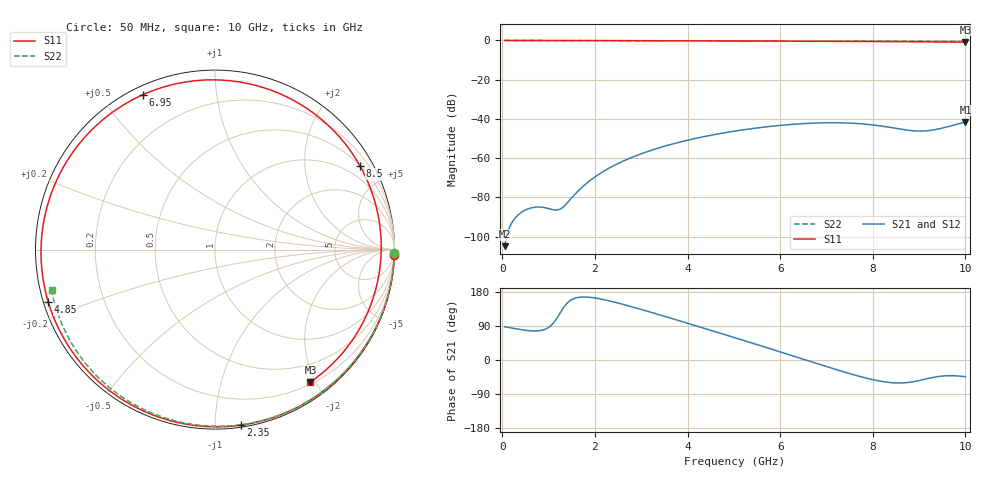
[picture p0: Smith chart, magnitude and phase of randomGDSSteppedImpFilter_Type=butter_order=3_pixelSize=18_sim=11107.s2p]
! freq	dB(S11)	phase(S11)	dB(S12)	phase(S12)
!  dB(S21)	phase(S21)	dB(S22)	phase(S22)
!S-par simulation data
#  GHz  S  DB  R 50
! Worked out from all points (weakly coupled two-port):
!   200 points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, 50 MHz to 10 GHz, reference 50 ohm
!   highest |S21| = -41.58 dB at 10 GHz (marker M1); lowest = -104.8 dB at 50 MHz (marker M2)
!   lowest |S11| = -0.8 dB at 10 GHz (marker M3), VSWR 21.02, Z = 11.4 - j96.6 ohm
!   |S11| at or under -10 dB: nowhere
!   |S22| runs from -0.6 to 0.0 dB; largest |S21 - S12| = 0
!   S11 on the Smith chart (normalised r, x): 50 MHz: 1, -62; 2.35 GHz: 0.01, -1.16; 4.85 GHz: 0.01, -0.15; 6.95 GHz: 0.03, +0.64; 8.5 GHz: 0.51, +3.67; 10 GHz: 0.23, -1.93
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0.05  -0.00 -1.8  -104.80 87.7  -104.80 87.7  -0.00 -1.0
0.75  -0.03 -26.9  -84.87 76.7  -84.87 76.7  -0.02 -14.2
1.5  -0.07 -53.1  -80.16 159.3  -80.16 159.3  -0.04 -28.2
1.75  -0.08 -61.7  -74.17 166.3  -74.17 166.3  -0.04 -32.7
2.35  -0.10 -81.7  -64.47 154.9  -64.47 154.9  -0.06 -43.6
2.85  -0.12 -98.0  -59.07 138.6  -59.07 138.6  -0.07 -52.5
3.4  -0.15 -115.6  -54.60 119.0  -54.60 119.0  -0.08 -62.1
4.15  -0.19 -139.5  -50.02 91.4  -50.02 91.4  -0.10 -74.8
4.85  -0.23 -162.5  -46.83 65.3  -46.83 65.3  -0.13 -86.3
5.05  -0.25 -169.2  -46.07 57.7  -46.07 57.7  -0.14 -89.5
5.9  -0.32 160.0  -43.50 25.3  -43.50 25.3  -0.18 -103.0
6.7  -0.40 126.5  -42.13 -5.7  -42.13 -5.7  -0.23 -115.3
6.95  -0.43 114.9  -41.95 -15.3  -41.95 -15.3  -0.24 -119.1
7.3  -0.47 97.6  -41.95 -28.6  -41.95 -28.6  -0.27 -124.4
7.65  -0.51 79.0  -42.29 -41.1  -42.29 -41.1  -0.30 -129.7
8  -0.55 59.3  -43.03 -51.9  -43.03 -51.9  -0.33 -135.0
8.35  -0.59 38.9  -44.19 -59.2  -44.19 -59.2  -0.36 -140.4
8.5  -0.60 30.0  -44.77 -60.5  -44.77 -60.5  -0.38 -142.7
8.85  -0.65 9.2  -45.96 -57.9  -45.96 -57.9  -0.41 -148.0
9.2  -0.69 -11.2  -45.95 -48.6  -45.95 -48.6  -0.45 -153.4
9.6  -0.76 -33.4  -44.04 -41.6  -44.04 -41.6  -0.50 -159.7
10  -0.83 -54.2  -41.58 -44.2  -41.58 -44.2  -0.56 -166.2
